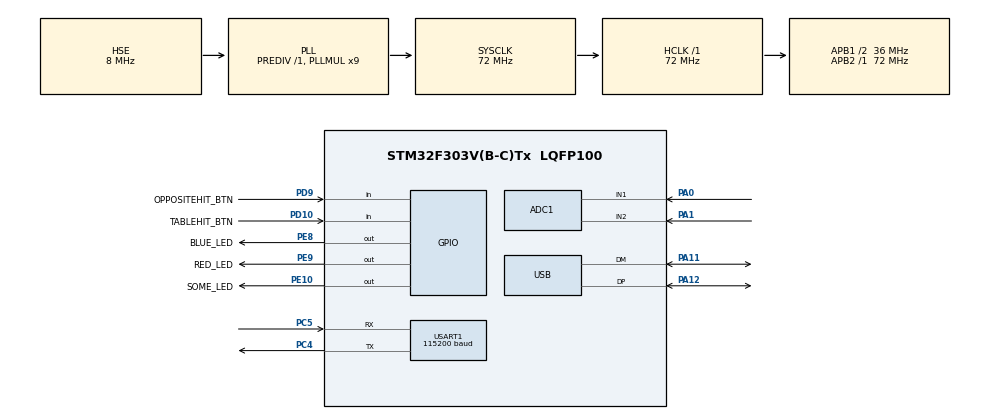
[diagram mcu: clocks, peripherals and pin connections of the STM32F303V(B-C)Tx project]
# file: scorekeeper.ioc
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ADC1.Channel-0\#ChannelRegularConversion=ADC_CHANNEL_1
ADC1.Channel-1\#ChannelRegularConversion=ADC_CHANNEL_2
ADC1.ContinuousConvMode=ENABLE
ADC1.DMAContinuousRequests=ENABLE
ADC1.NbrOfConversion=2
ADC1.NbrOfConversionFlag=1
ADC1.Offset-0\#ChannelRegularConversion=0
ADC1.Offset-1\#ChannelRegularConversion=0
ADC1.OffsetNumber-0\#ChannelRegularConversion=ADC_OFFSET_NONE
ADC1.OffsetNumber-1\#ChannelRegularConversion=ADC_OFFSET_NONE
ADC1.Rank-0\#ChannelRegularConversion=1
ADC1.Rank-1\#ChannelRegularConversion=2
ADC1.SamplingTime-0\#ChannelRegularConversion=ADC_SAMPLETIME_61CYCLES_5
ADC1.SamplingTime-1\#ChannelRegularConversion=ADC_SAMPLETIME_61CYCLES_5
ADC1.SamplingTimeOPAMP-1\#ChannelRegularConversion=ADC_SAMPLETIME_19CYCLES_5
ADC1.master=1
Dma.ADC1.0.Direction=DMA_PERIPH_TO_MEMORY
Dma.ADC1.0.Instance=DMA1_Channel1
Dma.ADC1.0.MemDataAlignment=DMA_MDATAALIGN_HALFWORD
Dma.ADC1.0.MemInc=DMA_MINC_ENABLE
Dma.ADC1.0.Mode=DMA_CIRCULAR
Dma.ADC1.0.PeriphDataAlignment=DMA_PDATAALIGN_HALFWORD
Dma.ADC1.0.PeriphInc=DMA_PINC_DISABLE
Dma.ADC1.0.Priority=DMA_PRIORITY_LOW
Dma.Request0=ADC1
EdgeImpulse.OS-APPSC.1.0.17.MachineLearningCcOSAaAPPSCJjCore=true
FREERTOS.BinarySemaphores01=dataAvailable,Dynamic,NULL
FREERTOS.Tasks01=samplingTask,-2,128,StartSamplingTask,Default,NULL,Dynamic,NULL,NULL;inferencingTask,2,2048,StartInferencingTask,Default,NULL,Dynamic,NULL,NULL
FREERTOS.Timers01=timeoutTimer,timeoutCallback,osTimerOnce,Default,NULL,Dynamic,NULL
FREERTOS.configCHECK_FOR_STACK_OVERFLOW=2
FREERTOS.configTIMER_TASK_PRIORITY=1
FREERTOS.configTOTAL_HEAP_SIZE=16384
FREERTOS.configUSE_MALLOC_FAILED_HOOK=1
FREERTOS.configUSE_NEWLIB_REENTRANT=1
FREERTOS.configUSE_TIMERS=1
Mcu.Family=STM32F3
Mcu.Name=STM32F303V(B-C)Tx
Mcu.Package=LQFP100
NVIC.DMA1_Channel1_IRQn=true\:5\:0\:false\:false\:true\:true\:false\:true\:true
NVIC.PriorityGroup=NVIC_PRIORITYGROUP_4
NVIC.TIM1_UP_TIM16_IRQn=true\:15\:0\:true\:false\:true\:false\:false\:true\:true
NVIC.TimeBase=TIM1_UP_TIM16_IRQn
NVIC.TimeBaseIP=TIM1
PA0.Mode=IN1-Single-Ended
PA0.Signal=ADC1_IN1
PA1.Mode=IN2-Single-Ended
PA1.Signal=ADC1_IN2
PA11.Mode=Device
PA11.Signal=USB_DM
PA12.Mode=Device
PA12.Signal=USB_DP
PC14-OSC32_IN.Mode=LSE-External-Oscillator
PC14-OSC32_IN.Signal=RCC_OSC32_IN
PC15-OSC32_OUT.Mode=LSE-External-Oscillator
PC15-OSC32_OUT.Signal=RCC_OSC32_OUT
PC4.Mode=Asynchronous
PC4.Signal=USART1_TX
PC5.Mode=Asynchronous
PC5.Signal=USART1_RX
PD10.GPIO_Label=TABLEHIT_BTN
PD10.GPIO_PuPd=GPIO_PULLUP
PD10.Signal=GPIO_Input
PD9.GPIO_Label=OPPOSITEHIT_BTN
PD9.Signal=GPIO_Input
PE10.GPIO_Label=SOME_LED
PE10.Signal=GPIO_Output
PE8.GPIO_Label=BLUE_LED
PE8.Signal=GPIO_Output
PE9.GPIO_Label=RED_LED
PE9.Signal=GPIO_Output
PF0-OSC_IN.Mode=HSE-External-Oscillator
PF0-OSC_IN.Signal=RCC_OSC_IN
PF1-OSC_OUT.Mode=HSE-External-Oscillator
PF1-OSC_OUT.Signal=RCC_OSC_OUT
ProjectManager.HeapSize=0x200
ProjectManager.StackSize=0x400
ProjectManager.TargetToolchain=STM32CubeIDE
RCC.ADC12PRES=RCC_ADC12PLLCLK_DIV256
RCC.AHBFreq_Value=72000000
RCC.APB1CLKDivider=RCC_HCLK_DIV2
RCC.APB1Freq_Value=36000000
RCC.APB1TimFreq_Value=72000000
RCC.APB2Freq_Value=72000000
RCC.APB2TimFreq_Value=72000000
RCC.CortexFreq_Value=72000000
RCC.HCLKFreq_Value=72000000
RCC.HSE_VALUE=8000000
RCC.HSI_VALUE=8000000
RCC.PLLMUL=RCC_PLL_MUL9
RCC.PRESCALERUSB=RCC_USBCLKSOURCE_PLL_DIV1_5
RCC.SYSCLKFreq_VALUE=72000000
RCC.SYSCLKSourceVirtual=RCC_SYSCLKSOURCE_PLLCLK
RCC.USBFreq_Value=48000000
USART1.BaudRate=115200
USART1.Mode=MODE_TX
USART1.VirtualMode-Asynchronous=VM_ASYNC
VP_EdgeImpulse.OS-APPSC_VS_OSAaAPPSCJjMachineLearning_1.0.17_1.0.17.Mode=OSAaAPPSCJjMachineLearning
VP_FREERTOS_VS_CMSIS_V1.Mode=CMSIS_V1
VP_SYS_VS_tim1.Mode=TIM1
board=STM32F3DISCOVERY

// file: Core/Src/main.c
/* USER CODE BEGIN Header */
/**
  ******************************************************************************
  * @file           : main.c
  * @brief          : Main program body
  ******************************************************************************
  * @attention
  *
  * Copyright (c) 2024 STMicroelectronics.
  * All rights reserved.
  *
  * This software is licensed under terms that can be found in the LICENSE file
  * in the root directory of this software component.
  * If no LICENSE file comes with this software, it is provided AS-IS.
  *
  ******************************************************************************
  */
/* USER CODE END Header */
#include "main.h"
#include "cmsis_os.h"
#include "adc.h"
#include "dma.h"
#include "usart.h"
#include "usb.h"
#include "gpio.h"

void SystemClock_Config(void);
void MX_FREERTOS_Init(void);

int main(void)
{

  /* MCU Configuration--------------------------------------------------------*/

  /* Reset of all peripherals, Initializes the Flash interface and the Systick. */
  HAL_Init();

  /* Configure the system clock */
  SystemClock_Config();

  /* Initialize all configured peripherals */
  MX_GPIO_Init();
  MX_DMA_Init();
  MX_ADC1_Init();
  MX_USART1_UART_Init();
  MX_USB_PCD_Init();

  /* Call init function for freertos objects (in freertos.c) */
  MX_FREERTOS_Init();

  /* Start scheduler */
  osKernelStart();

  /* We should never get here as control is now taken by the scheduler */
  /* Infinite loop */
  while (1)
  {

  }
}

void SystemClock_Config(void)
{
  RCC_OscInitTypeDef RCC_OscInitStruct = {0};
  RCC_ClkInitTypeDef RCC_ClkInitStruct = {0};
  RCC_PeriphCLKInitTypeDef PeriphClkInit = {0};

  /** Initializes the RCC Oscillators according to the specified parameters
  * in the RCC_OscInitTypeDef structure.
  */
  RCC_OscInitStruct.OscillatorType = RCC_OSCILLATORTYPE_HSE;
  RCC_OscInitStruct.HSEState = RCC_HSE_ON;
  RCC_OscInitStruct.HSEPredivValue = RCC_HSE_PREDIV_DIV1;
  RCC_OscInitStruct.HSIState = RCC_HSI_ON;
  RCC_OscInitStruct.PLL.PLLState = RCC_PLL_ON;
  RCC_OscInitStruct.PLL.PLLSource = RCC_PLLSOURCE_HSE;
  RCC_OscInitStruct.PLL.PLLMUL = RCC_PLL_MUL9;
  if (HAL_RCC_OscConfig(&RCC_OscInitStruct) != HAL_OK)
  {
    Error_Handler();
  }

  /** Initializes the CPU, AHB and APB buses clocks
  */
  RCC_ClkInitStruct.ClockType = RCC_CLOCKTYPE_HCLK|RCC_CLOCKTYPE_SYSCLK
                              |RCC_CLOCKTYPE_PCLK1|RCC_CLOCKTYPE_PCLK2;
  RCC_ClkInitStruct.SYSCLKSource = RCC_SYSCLKSOURCE_PLLCLK;
  RCC_ClkInitStruct.AHBCLKDivider = RCC_SYSCLK_DIV1;
  RCC_ClkInitStruct.APB1CLKDivider = RCC_HCLK_DIV2;
  RCC_ClkInitStruct.APB2CLKDivider = RCC_HCLK_DIV1;

  if (HAL_RCC_ClockConfig(&RCC_ClkInitStruct, FLASH_LATENCY_2) != HAL_OK)
  {
    Error_Handler();
  }
  PeriphClkInit.PeriphClockSelection = RCC_PERIPHCLK_USB|RCC_PERIPHCLK_USART1
                              |RCC_PERIPHCLK_ADC12;
  PeriphClkInit.Usart1ClockSelection = RCC_USART1CLKSOURCE_PCLK2;
  PeriphClkInit.Adc12ClockSelection = RCC_ADC12PLLCLK_DIV256;
  PeriphClkInit.USBClockSelection = RCC_USBCLKSOURCE_PLL_DIV1_5;
  if (HAL_RCCEx_PeriphCLKConfig(&PeriphClkInit) != HAL_OK)
  {
    Error_Handler();
  }
}

void HAL_TIM_PeriodElapsedCallback(TIM_HandleTypeDef *htim)
{
  if (htim->Instance == TIM1) {
    HAL_IncTick();
  }
}

void Error_Handler(void)
{
  __disable_irq();
  while (1)
  {
  }
}

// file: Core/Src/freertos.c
/* USER CODE BEGIN Header */
/**
  ******************************************************************************
  * File Name          : freertos.c
  * Description        : Code for freertos applications
  ******************************************************************************
  * @attention
  *
  * Copyright (c) 2023 STMicroelectronics.
  * All rights reserved.
  *
  * This software is licensed under terms that can be found in the LICENSE file
  * in the root directory of this software component.
  * If no LICENSE file comes with this software, it is provided AS-IS.
  *
  ******************************************************************************
  */
/* USER CODE END Header */

#include "FreeRTOS.h"
#include "task.h"
#include "main.h"
#include "cmsis_os.h"

/* USER CODE BEGIN Includes */
#include "adc.h"
#include "pingpong.h"
#include "stdbool.h"
#include "classifier.h"
#include "model-parameters/model_metadata.h"
#include "task.h"
/* USER CODE END Includes */

/* USER CODE BEGIN Variables */
volatile bool listening = true;

int16_t dma_buffer[EI_CLASSIFIER_DSP_INPUT_FRAME_SIZE*2];
const uint32_t buf_start_pointer = 0;
const uint32_t buf_half_pointer = EI_CLASSIFIER_DSP_INPUT_FRAME_SIZE;
volatile uint32_t buf_offset;

volatile state_t state = START;
volatile state_t server = START;
volatile uint8_t l_score = 0;
volatile uint8_t r_score = 0;
volatile bool deuce = false;
/* USER CODE END Variables */
osThreadId samplingTaskHandle;
osThreadId inferencingTaskHandle;
osTimerId timeoutTimerHandle;
osSemaphoreId dataAvailableHandle;

void StartSamplingTask(void const * argument);
void StartInferencingTask(void const * argument);
void timeoutCallback(void const * argument);

void MX_FREERTOS_Init(void); /* (MISRA C 2004 rule 8.1) */

/* GetIdleTaskMemory prototype (linked to static allocation support) */
void vApplicationGetIdleTaskMemory( StaticTask_t **ppxIdleTaskTCBBuffer, StackType_t **ppxIdleTaskStackBuffer, uint32_t *pulIdleTaskStackSize );

/* GetTimerTaskMemory prototype (linked to static allocation support) */
void vApplicationGetTimerTaskMemory( StaticTask_t **ppxTimerTaskTCBBuffer, StackType_t **ppxTimerTaskStackBuffer, uint32_t *pulTimerTaskStackSize );

/* Hook prototypes */
void vApplicationStackOverflowHook(xTaskHandle xTask, signed char *pcTaskName);
void vApplicationMallocFailedHook(void);

/* USER CODE BEGIN 4 */
__weak void vApplicationStackOverflowHook(xTaskHandle xTask, signed char *pcTaskName)
{
   /* Run time stack overflow checking is performed if
   configCHECK_FOR_STACK_OVERFLOW is defined to 1 or 2. This hook function is
   called if a stack overflow is detected. */
    print_score("Stack overflow");
}
/* USER CODE END 4 */

/* USER CODE BEGIN 5 */
__weak void vApplicationMallocFailedHook(void)
{
   /* vApplicationMallocFailedHook() will only be called if
   configUSE_MALLOC_FAILED_HOOK is set to 1 in FreeRTOSConfig.h. It is a hook
   function that will get called if a call to pvPortMalloc() fails.
   pvPortMalloc() is called internally by the kernel whenever a task, queue,
   timer or semaphore is created. It is also called by various parts of the
   demo application. If heap_1.c or heap_2.c are used, then the size of the
   heap available to pvPortMalloc() is defined by configTOTAL_HEAP_SIZE in
   FreeRTOSConfig.h, and the xPortGetFreeHeapSize() API function can be used
   to query the size of free heap space that remains (although it does not
   provide information on how the remaining heap might be fragmented). */
    print_score("Malloc failed");
}
/* USER CODE END 5 */

/* USER CODE BEGIN GET_IDLE_TASK_MEMORY */
static StaticTask_t xIdleTaskTCBBuffer;
static StackType_t xIdleStack[configMINIMAL_STACK_SIZE];

void vApplicationGetIdleTaskMemory( StaticTask_t **ppxIdleTaskTCBBuffer, StackType_t **ppxIdleTaskStackBuffer, uint32_t *pulIdleTaskStackSize )
{
  *ppxIdleTaskTCBBuffer = &xIdleTaskTCBBuffer;
  *ppxIdleTaskStackBuffer = &xIdleStack[0];
  *pulIdleTaskStackSize = configMINIMAL_STACK_SIZE;
  /* place for user code */
}
/* USER CODE END GET_IDLE_TASK_MEMORY */

/* USER CODE BEGIN GET_TIMER_TASK_MEMORY */
static StaticTask_t xTimerTaskTCBBuffer;
static StackType_t xTimerStack[configTIMER_TASK_STACK_DEPTH];

void vApplicationGetTimerTaskMemory( StaticTask_t **ppxTimerTaskTCBBuffer, StackType_t **ppxTimerTaskStackBuffer, uint32_t *pulTimerTaskStackSize )
{
  *ppxTimerTaskTCBBuffer = &xTimerTaskTCBBuffer;
  *ppxTimerTaskStackBuffer = &xTimerStack[0];
  *pulTimerTaskStackSize = configTIMER_TASK_STACK_DEPTH;
  /* place for user code */
}
/* USER CODE END GET_TIMER_TASK_MEMORY */

void MX_FREERTOS_Init(void) {
  /* USER CODE BEGIN Init */

  print_score("Choose player:");
  classifier_init();
  HAL_ADC_Start_DMA(&hadc1, (uint32_t*) dma_buffer, EI_CLASSIFIER_DSP_INPUT_FRAME_SIZE*2);
  /* USER CODE END Init */

  /* Create the semaphores(s) */
  /* definition and creation of dataAvailable */
  osSemaphoreDef(dataAvailable);
  dataAvailableHandle = osSemaphoreCreate(osSemaphore(dataAvailable), 1);

  /* Create the timer(s) */
  /* definition and creation of timeoutTimer */
  osTimerDef(timeoutTimer, timeoutCallback);
  timeoutTimerHandle = osTimerCreate(osTimer(timeoutTimer), osTimerOnce, NULL);

  /* Create the thread(s) */
  /* definition and creation of samplingTask */
  osThreadDef(samplingTask, StartSamplingTask, osPriorityLow, 0, 128);
  samplingTaskHandle = osThreadCreate(osThread(samplingTask), NULL);

  /* definition and creation of inferencingTask */
  osThreadDef(inferencingTask, StartInferencingTask, osPriorityHigh, 0, 2048);
  inferencingTaskHandle = osThreadCreate(osThread(inferencingTask), NULL);

}

void StartSamplingTask(void const * argument)
{
  /* USER CODE BEGIN StartSamplingTask */
  /* Infinite loop */
  for(;;)
  {
      osDelay(1000);
  }
  /* USER CODE END StartSamplingTask */
}

void StartInferencingTask(void const * argument)
{
  /* USER CODE BEGIN StartInferencingTask */
  /* Infinite loop */
	for(;;) {
        if (xSemaphoreTake(dataAvailableHandle, portMAX_DELAY) == pdTRUE) {

            bool oppositehit = false;
            bool tablehit = false;

            uint32_t res = classify_slice(buf_offset);

            if (res == 0) {
                tablehit = true;
            } else if (res == 1) {
                oppositehit = true;
            }

            if (oppositehit || tablehit) {
                xTimerStop(timeoutTimerHandle, 0);
                switch_pp_state(tablehit, oppositehit);
                if (state == R_WAIT || state == R_TURN || state == L_WAIT || state == L_TURN) {
                    xTimerStart(timeoutTimerHandle, PP_TIMEOUT_TICKS);
                    // I fucking love embedded
                    xTimerChangePeriod(timeoutTimerHandle, PP_TIMEOUT_TICKS, 0);
                }
            }
        }
	}
  /* USER CODE END StartInferencingTask */
}

/* timeoutCallback function */
void timeoutCallback(void const * argument)
{
  /* USER CODE BEGIN timeoutCallback */
    check_timeout(state);
  /* USER CODE END timeoutCallback */
}

/* USER CODE BEGIN Application */

void HAL_ADC_ConvHalfCpltCallback(ADC_HandleTypeDef *hadc) {
    HAL_GPIO_TogglePin(RED_LED_GPIO_Port, RED_LED_Pin);
    BaseType_t wokenUp = pdFALSE;
    buf_offset = buf_start_pointer;
    xSemaphoreGiveFromISR(dataAvailableHandle, &wokenUp);
    portEND_SWITCHING_ISR(wokenUp);

}

void HAL_ADC_ConvCpltCallback(ADC_HandleTypeDef *hadc) {
    HAL_GPIO_TogglePin(SOME_LED_GPIO_Port, SOME_LED_Pin);
    BaseType_t wokenUp = pdFALSE;
    buf_offset = buf_half_pointer;
    xSemaphoreGiveFromISR(dataAvailableHandle, &wokenUp);
    portEND_SWITCHING_ISR(wokenUp);
}

/* USER CODE END Application */
